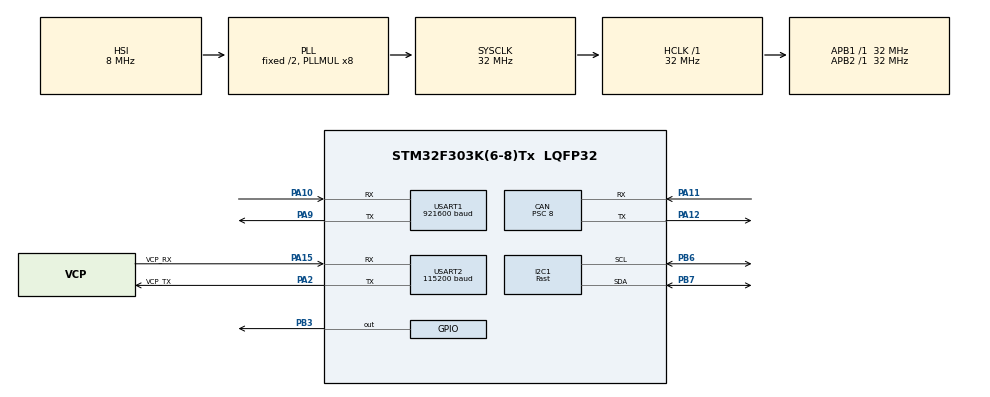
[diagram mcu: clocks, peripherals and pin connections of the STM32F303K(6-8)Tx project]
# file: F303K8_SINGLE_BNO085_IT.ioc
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CAN.BS1=CAN_BS1_2TQ
CAN.CalculateBaudRate=1000000
CAN.CalculateTimeBit=1000
CAN.CalculateTimeQuantum=250.0
CAN.Prescaler=8
CAN.SJW=CAN_SJW_2TQ
I2C1.I2C_Speed_Mode=I2C_Fast
I2C1.Timing=0x00300F38
Mcu.Family=STM32F3
Mcu.Name=STM32F303K(6-8)Tx
Mcu.Package=LQFP32
NVIC.PriorityGroup=NVIC_PRIORITYGROUP_4
NVIC.RCC_IRQn=true\:0\:0\:false\:false\:true\:true\:false\:true
NVIC.TIM6_DAC1_IRQn=true\:0\:0\:false\:false\:true\:true\:true\:true
PA10.Mode=Asynchronous
PA10.Signal=USART1_RX
PA11.Mode=CAN_Activate
PA11.Signal=CAN_RX
PA12.Mode=CAN_Activate
PA12.Signal=CAN_TX
PA13.GPIO_Label=SWDIO
PA13.Mode=Serial_Wire
PA13.Signal=SYS_JTMS-SWDIO
PA14.GPIO_Label=SWCLK
PA14.Mode=Serial_Wire
PA14.Signal=SYS_JTCK-SWCLK
PA15.GPIO_Label=VCP_RX
PA15.Mode=Asynchronous
PA15.Signal=USART2_RX
PA2.GPIO_Label=VCP_TX
PA2.Mode=Asynchronous
PA2.Signal=USART2_TX
PA9.Mode=Asynchronous
PA9.Signal=USART1_TX
PB3.Signal=GPIO_Output
PB6.Mode=I2C
PB6.Signal=I2C1_SCL
PB7.Mode=I2C
PB7.Signal=I2C1_SDA
PF0\ /\ OSC_IN.GPIO_Label=MCO
PF0\ /\ OSC_IN.Mode=HSE-External-Clock-Source
PF0\ /\ OSC_IN.Signal=RCC_OSC_IN
ProjectManager.HeapSize=0x200
ProjectManager.StackSize=0x400
ProjectManager.TargetToolchain=STM32CubeIDE
RCC.AHBFreq_Value=32000000
RCC.APB1Freq_Value=32000000
RCC.APB1TimFreq_Value=32000000
RCC.APB2Freq_Value=32000000
RCC.APB2TimFreq_Value=32000000
RCC.CortexFreq_Value=32000000
RCC.HCLKFreq_Value=32000000
RCC.HSE_VALUE=8000000
RCC.HSI_VALUE=8000000
RCC.I2c1ClockSelection=RCC_I2C1CLKSOURCE_SYSCLK
RCC.PLLMUL=RCC_PLL_MUL8
RCC.SYSCLKFreq_VALUE=32000000
RCC.SYSCLKSourceVirtual=RCC_SYSCLKSOURCE_PLLCLK
TIM6.Period=19000
TIM6.Prescaler=32
USART1.BaudRate=921600
USART1.VirtualMode-Asynchronous=VM_ASYNC
USART2.BaudRate=115200
USART2.VirtualMode-Asynchronous=VM_ASYNC
VP_TIM6_VS_ClockSourceINT.Mode=Enable_Timer
board=NUCLEO-F303K8

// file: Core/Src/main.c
/* USER CODE BEGIN Header */
/**
 ******************************************************************************
 * @file           : main.c
 * @brief          : Main program body
 ******************************************************************************
 * @attention
 *
 * Copyright (c) 2024 STMicroelectronics.
 * All rights reserved.
 *
 * This software is licensed under terms that can be found in the LICENSE file
 * in the root directory of this software component.
 * If no LICENSE file comes with this software, it is provided AS-IS.
 *
 ******************************************************************************
 */
/* USER CODE END Header */
#include "main.h"

/* USER CODE BEGIN PTD */
typedef struct Quaternion {
  float qi;
  float qj;
  float qk;
  float qr;
  float acc;
}
Quaternion_t;

typedef struct EulerAng {
  float roll;
  float pitch;
  float yaw;
  float acc;
}
EulerAng_t;

typedef struct ARVRStabRotVectReport {
  uint8_t reportID;
  uint8_t repSeqNum;
  uint8_t repStatus;
  uint8_t repDelay;
  int16_t quat_i;
  int16_t quat_j;
  int16_t quat_k;
  int16_t quat_r;
  int16_t accEstim;
}
ARVRStabRotVectReport_t;

typedef struct FlashConfigReg {
  uint8_t tlmOutputMode;
  uint8_t tlmOutputRate;
  uint8_t canConfig;
  uint8_t unused2;
}
FlashConfigReg_t;

/* USER CODE END PTD */

/* USER CODE BEGIN PD */

#define SCALE_Q(n) (1.0f / (1 << n))

#define IMU_OUT_EULER_ONLY   1
#define IMU_OUT_QUAT_ONLY    2
#define IMU_OUT_EULER_QUAT   3

#define IMU_OUT_RATE_100     1
#define IMU_OUT_RATE_50      2
#define IMU_OUT_RATE_25      3
#define IMU_OUT_RATE_12P5    4

#define IMU_CFG_AUTO_RETRANS_DIS      0
#define IMU_CFG_AUTO_RETRANS_ENA      1

#define FLASH_PAGE_30_START ((uint32_t)0x0800F000)
#define FLASH_PAGE_31_START ((uint32_t)0x0800F800)

#define CAN_RX_FIFO0 0

/*
IMU Cmd 1	Enable Euler angles TLM	0	0	1	0	0	0	0	0	0	1	0	0	0	0	0	0	0	0	0	0	0	0	1	0	0	0	0	0	0		00100	00001000	00000000	01000000	04	08	00	40
IMU Cmd 2	Disable Euler angles TLM	0	0	1	0	0	0	0	0	0	1	0	0	0	0	0	0	0	0	0	0	0	1	0	0	0	0	0	0	0		00100	00001000	00000000	10000000	04	08	00	80
IMU Cmd 3	Enable Quaternion TLM	0	0	1	0	0	0	0	0	0	1	0	0	0	0	0	0	0	0	0	0	1	0	1	0	0	0	0	0	0		00100	00001000	00000001	01000000	04	08	01	40
IMU Cmd 4	Disable Quaternion TLM	0	0	1	0	0	0	0	0	0	1	0	0	0	0	0	0	0	0	0	0	1	1	0	0	0	0	0	0	0		00100	00001000	00000001	10000000	04	08	01	80
*/
#define IMU_CMD_EULER_ENA   0x04080040
#define IMU_CMD_EULER_DIS   0x04080080
#define IMU_CMD_QUAT_ENA    0x040800C0
#define IMU_CMD_QUAT_DIS    0x04080100
#define IMU_CMD_RATE_100    0x04080140
#define IMU_CMD_RATE_50     0x04080180
#define IMU_CMD_RATE_25     0x040801C0
#define IMU_CMD_RATE_12P5   0x04080200

/* USER CODE END PD */

CAN_HandleTypeDef hcan;

I2C_HandleTypeDef hi2c1;

TIM_HandleTypeDef htim6;

UART_HandleTypeDef huart1;
UART_HandleTypeDef huart2;

/* USER CODE BEGIN PV */
char outputString[500];
HAL_StatusTypeDef transmissionStatus;

uint8_t txDataI2C[500];
uint8_t rxDataI2C[500];
uint8_t txProdIDReqI2C[6] = {
  0x06,
  0x00,
  0x02,
  0x00,
  0xF9,
  0x00
};
uint8_t txMisteryReqI2C[5] = {
  0x05,
  0x00,
  0x01,
  0x00,
  0x01
};
uint8_t txSetFeatureI2C[21] = {
  0x15,
  0x00,
  0x02,
  0x01,
  0xFD,
  0x28,
  0x00,
  0x00,
  0x00,
  0x88,
  0x13,
  0x00,
  0x00,
  0x00,
  0x00,
  0x00,
  0x00,
  0x00,
  0x00,
  0x00,
  0x00
};

uint8_t tgtAddr;
uint8_t bytes2Read;

GPIO_PinState button_state;
uint8_t execute_btn_actions;

Quaternion_t myQuat, myQuatScaled;
EulerAng_t myRollPitchYaw, myRPY, myRPYScaled;
ARVRStabRotVectReport_t myARVRReport;

float norm;

float sqi;
float sqj;
float sqk;
float sqr;

float sinr_cosp;
float cosr_cosp;
float sinp;
float cosp;
float siny_cosp;
float cosy_cosp;

// Flash configuration storage variable
FlashConfigReg_t myFlashCfg;
uint32_t myReadData;
uint32_t myData;
FLASH_EraseInitTypeDef myEraseInit;
uint32_t myPageError;
HAL_StatusTypeDef myStatus;

// Private variables for CAN
CAN_FilterTypeDef canFltrCfg;
CAN_TxHeaderTypeDef canTxHeader;
CAN_RxHeaderTypeDef canRxHeader;
uint32_t canMailbox;
uint8_t canTxMsg[8];
uint8_t canRxMsg[8];

uint16_t tmp_uint16;

uint32_t tickStartCycle, tickEndCycle, tickLastStartCycle;

uint8_t changeFlag;

/* USER CODE END PV */

void SystemClock_Config(void);
static void MX_GPIO_Init(void);
static void MX_USART2_UART_Init(void);
static void MX_CAN_Init(void);
static void MX_I2C1_Init(void);
static void MX_USART1_UART_Init(void);
static void MX_TIM6_Init(void);

/* USER CODE BEGIN PFP */
void HAL_TIM_PeriodElapsedCallback(TIM_HandleTypeDef * htim);
uint8_t getARVRQuat(const ARVRStabRotVectReport_t * inputRep, Quaternion_t * quatStruct);
void checkCANReceive(void);
void writeConfigToFlash(void);
void canConfig(void);
void ClearCANPendingMessage(CAN_HandleTypeDef * pCANHandle, CAN_TxHeaderTypeDef * pHeader, uint8_t * pTxData, uint32_t * pTxMailbox);
void TransmitCANMessage(CAN_HandleTypeDef * pCANHandle, CAN_TxHeaderTypeDef * pHeader, uint8_t * pTxData, uint32_t * pTxMailbox);

/* USER CODE END PFP */

int main(void)
{

  /* MCU Configuration--------------------------------------------------------*/

  /* Reset of all peripherals, Initializes the Flash interface and the Systick. */
  HAL_Init();

  /* Configure the system clock */
  SystemClock_Config();

  /* Initialize all configured peripherals */
  MX_GPIO_Init();
  MX_USART2_UART_Init();
  MX_CAN_Init();
  MX_I2C1_Init();
  MX_USART1_UART_Init();
  MX_TIM6_Init();
  /* USER CODE BEGIN 2 */

  sprintf(outputString, "Application is starting...\r\n");
  transmissionStatus = HAL_UART_Transmit( & huart2, (uint8_t * ) outputString, strlen(outputString), HAL_MAX_DELAY);

  // print SYSCLK Speed
  sprintf(outputString, "SYSCLK Speed: %ld\r\n", HAL_RCC_GetSysClockFreq());
  transmissionStatus = HAL_UART_Transmit( & huart2, (uint8_t * ) outputString, strlen(outputString), HAL_MAX_DELAY);
  // print HCLK Speed
  sprintf(outputString, "HCLK Speed: %ld\r\n", HAL_RCC_GetHCLKFreq());
  transmissionStatus = HAL_UART_Transmit( & huart2, (uint8_t * ) outputString, strlen(outputString), HAL_MAX_DELAY);
  // print PCLK1 Speed
  sprintf(outputString, "PCLK1 Speed: %ld\r\n", HAL_RCC_GetPCLK1Freq());
  transmissionStatus = HAL_UART_Transmit( & huart2, (uint8_t * ) outputString, strlen(outputString), HAL_MAX_DELAY);
  // print PCLK2 Speed
  sprintf(outputString, "PCLK2 Speed: %ld\r\n", HAL_RCC_GetPCLK2Freq());
  transmissionStatus = HAL_UART_Transmit( & huart2, (uint8_t * ) outputString, strlen(outputString), HAL_MAX_DELAY);

  // Read configuration from flash
  //myReadData = *(volatile uint32_t *)FLASH_PAGE_31_START;
  myFlashCfg = *(volatile FlashConfigReg_t *)FLASH_PAGE_31_START;
  if (myFlashCfg.tlmOutputMode == 255){
	  myFlashCfg.tlmOutputMode == IMU_OUT_EULER_ONLY;
  }
  if (myFlashCfg.tlmOutputRate == 255){
	  myFlashCfg.tlmOutputRate == IMU_OUT_RATE_50;
	  if (myFlashCfg.tlmOutputRate != IMU_OUT_RATE_50) {
		  myFlashCfg.tlmOutputRate = IMU_OUT_RATE_50;
		  HAL_TIM_Base_Stop_IT(&htim6);
		  htim6.Init.Period = 19000;
		  if (HAL_TIM_Base_Init(&htim6) != HAL_OK)
		  {
		    Error_Handler();
		  }
		  HAL_TIM_Base_Start_IT(&htim6);
	  }
  }
  if (myFlashCfg.canConfig == 255){
	  myFlashCfg.canConfig == IMU_CFG_AUTO_RETRANS_DIS;
  }
  //&myFlashCfg = &myReadData;

  // Configure CAN structures and state machine
  canConfig();

  // I2C configuration
  //Default address
  tgtAddr = 0x4A << 1;
  bytes2Read = 100;

  // first I2C transaction
  HAL_I2C_Master_Transmit( & hi2c1, tgtAddr, txMisteryReqI2C, 5, HAL_MAX_DELAY);
  sprintf(outputString, "BNO085 write: %x\r\n", txMisteryReqI2C);
  transmissionStatus = HAL_UART_Transmit( & huart2, (uint8_t * ) outputString, strlen(outputString), HAL_MAX_DELAY);

  HAL_Delay(2);

  HAL_I2C_Master_Receive( & hi2c1, tgtAddr, rxDataI2C, bytes2Read, HAL_MAX_DELAY);
  sprintf(outputString, "BNO085 read: ");
  for (int i = 0; i < bytes2Read; i++) {
    sprintf(outputString + strlen(outputString), "%02x ", rxDataI2C[i]);
  }
  sprintf(outputString + strlen(outputString), "\r\n");
  transmissionStatus = HAL_UART_Transmit( & huart2, (uint8_t * ) outputString, strlen(outputString), HAL_MAX_DELAY);

  HAL_Delay(10);

  // second I2C transaction
  HAL_I2C_Master_Transmit( & hi2c1, tgtAddr, txProdIDReqI2C, 6, HAL_MAX_DELAY);
  sprintf(outputString, "BNO085 write: %x\r\n", txProdIDReqI2C);
  transmissionStatus = HAL_UART_Transmit( & huart2, (uint8_t * ) outputString, strlen(outputString), HAL_MAX_DELAY);

  HAL_Delay(2);

  HAL_I2C_Master_Receive( & hi2c1, tgtAddr, rxDataI2C, bytes2Read, HAL_MAX_DELAY);
  sprintf(outputString, "BNO085 read: ");
  for (int i = 0; i < bytes2Read; i++) {
    sprintf(outputString + strlen(outputString), "%02x ", rxDataI2C[i]);
  }
  sprintf(outputString + strlen(outputString), "\r\n");
  transmissionStatus = HAL_UART_Transmit( & huart2, (uint8_t * ) outputString, strlen(outputString), HAL_MAX_DELAY);

  HAL_Delay(10);

  // third I2C transaction
  HAL_I2C_Master_Transmit( & hi2c1, tgtAddr, txSetFeatureI2C, 21, HAL_MAX_DELAY);
  sprintf(outputString, "BNO085 write: %x\r\n", txSetFeatureI2C);
  transmissionStatus = HAL_UART_Transmit( & huart2, (uint8_t * ) outputString, strlen(outputString), HAL_MAX_DELAY);

  HAL_Delay(2);

  HAL_I2C_Master_Receive( & hi2c1, tgtAddr, rxDataI2C, bytes2Read, HAL_MAX_DELAY);
  sprintf(outputString, "BNO085 read: ");
  for (int i = 0; i < bytes2Read; i++) {
    sprintf(outputString + strlen(outputString), "%02x ", rxDataI2C[i]);
  }
  sprintf(outputString + strlen(outputString), "\r\n");
  transmissionStatus = HAL_UART_Transmit( & huart2, (uint8_t * ) outputString, strlen(outputString), HAL_MAX_DELAY);

  HAL_Delay(10);

  bytes2Read = 80;

  // start timer
  HAL_TIM_Base_Start_IT( & htim6);
  tickStartCycle = HAL_GetTick();
  tickLastStartCycle = tickStartCycle;

  /* USER CODE END 2 */

  /* Infinite loop */
  while (1) {

  }
}

void SystemClock_Config(void)
{
  RCC_OscInitTypeDef RCC_OscInitStruct = {0};
  RCC_ClkInitTypeDef RCC_ClkInitStruct = {0};
  RCC_PeriphCLKInitTypeDef PeriphClkInit = {0};

  /** Initializes the RCC Oscillators according to the specified parameters
  * in the RCC_OscInitTypeDef structure.
  */
  RCC_OscInitStruct.OscillatorType = RCC_OSCILLATORTYPE_HSI;
  RCC_OscInitStruct.HSIState = RCC_HSI_ON;
  RCC_OscInitStruct.HSICalibrationValue = RCC_HSICALIBRATION_DEFAULT;
  RCC_OscInitStruct.PLL.PLLState = RCC_PLL_ON;
  RCC_OscInitStruct.PLL.PLLSource = RCC_PLLSOURCE_HSI;
  RCC_OscInitStruct.PLL.PLLMUL = RCC_PLL_MUL8;
  if (HAL_RCC_OscConfig(&RCC_OscInitStruct) != HAL_OK)
  {
    Error_Handler();
  }

  /** Initializes the CPU, AHB and APB buses clocks
  */
  RCC_ClkInitStruct.ClockType = RCC_CLOCKTYPE_HCLK|RCC_CLOCKTYPE_SYSCLK
                              |RCC_CLOCKTYPE_PCLK1|RCC_CLOCKTYPE_PCLK2;
  RCC_ClkInitStruct.SYSCLKSource = RCC_SYSCLKSOURCE_PLLCLK;
  RCC_ClkInitStruct.AHBCLKDivider = RCC_SYSCLK_DIV1;
  RCC_ClkInitStruct.APB1CLKDivider = RCC_HCLK_DIV1;
  RCC_ClkInitStruct.APB2CLKDivider = RCC_HCLK_DIV1;

  if (HAL_RCC_ClockConfig(&RCC_ClkInitStruct, FLASH_LATENCY_1) != HAL_OK)
  {
    Error_Handler();
  }
  PeriphClkInit.PeriphClockSelection = RCC_PERIPHCLK_USART1|RCC_PERIPHCLK_I2C1;
  PeriphClkInit.Usart1ClockSelection = RCC_USART1CLKSOURCE_PCLK1;
  PeriphClkInit.I2c1ClockSelection = RCC_I2C1CLKSOURCE_SYSCLK;
  if (HAL_RCCEx_PeriphCLKConfig(&PeriphClkInit) != HAL_OK)
  {
    Error_Handler();
  }
}

static void MX_CAN_Init(void)
{

  hcan.Instance = CAN;
  hcan.Init.Prescaler = 8;
  hcan.Init.Mode = CAN_MODE_NORMAL;
  hcan.Init.SyncJumpWidth = CAN_SJW_2TQ;
  hcan.Init.TimeSeg1 = CAN_BS1_2TQ;
  hcan.Init.TimeSeg2 = CAN_BS2_1TQ;
  hcan.Init.TimeTriggeredMode = DISABLE;
  hcan.Init.AutoBusOff = DISABLE;
  hcan.Init.AutoWakeUp = DISABLE;
  hcan.Init.AutoRetransmission = DISABLE;
  hcan.Init.ReceiveFifoLocked = DISABLE;
  hcan.Init.TransmitFifoPriority = DISABLE;
  if (HAL_CAN_Init(&hcan) != HAL_OK)
  {
    Error_Handler();
  }
  /* USER CODE BEGIN CAN_Init 2 */

  SET_BIT(hcan.Instance -> MCR, CAN_MCR_NART);

  /* USER CODE END CAN_Init 2 */

}

static void MX_I2C1_Init(void)
{

  hi2c1.Instance = I2C1;
  hi2c1.Init.Timing = 0x00300F38;
  hi2c1.Init.OwnAddress1 = 0;
  hi2c1.Init.AddressingMode = I2C_ADDRESSINGMODE_7BIT;
  hi2c1.Init.DualAddressMode = I2C_DUALADDRESS_DISABLE;
  hi2c1.Init.OwnAddress2 = 0;
  hi2c1.Init.OwnAddress2Masks = I2C_OA2_NOMASK;
  hi2c1.Init.GeneralCallMode = I2C_GENERALCALL_DISABLE;
  hi2c1.Init.NoStretchMode = I2C_NOSTRETCH_DISABLE;
  if (HAL_I2C_Init(&hi2c1) != HAL_OK)
  {
    Error_Handler();
  }

  /** Configure Analogue filter
  */
  if (HAL_I2CEx_ConfigAnalogFilter(&hi2c1, I2C_ANALOGFILTER_ENABLE) != HAL_OK)
  {
    Error_Handler();
  }

  /** Configure Digital filter
  */
  if (HAL_I2CEx_ConfigDigitalFilter(&hi2c1, 0) != HAL_OK)
  {
    Error_Handler();
  }

}

static void MX_TIM6_Init(void)
{

  TIM_MasterConfigTypeDef sMasterConfig = {0};

  htim6.Instance = TIM6;
  htim6.Init.Prescaler = 32;
  htim6.Init.CounterMode = TIM_COUNTERMODE_UP;
  htim6.Init.Period = 19000;
  htim6.Init.AutoReloadPreload = TIM_AUTORELOAD_PRELOAD_DISABLE;
  if (HAL_TIM_Base_Init(&htim6) != HAL_OK)
  {
    Error_Handler();
  }
  sMasterConfig.MasterOutputTrigger = TIM_TRGO_RESET;
  sMasterConfig.MasterSlaveMode = TIM_MASTERSLAVEMODE_DISABLE;
  if (HAL_TIMEx_MasterConfigSynchronization(&htim6, &sMasterConfig) != HAL_OK)
  {
    Error_Handler();
  }

}

static void MX_USART1_UART_Init(void)
{

  huart1.Instance = USART1;
  huart1.Init.BaudRate = 921600;
  huart1.Init.WordLength = UART_WORDLENGTH_8B;
  huart1.Init.StopBits = UART_STOPBITS_1;
  huart1.Init.Parity = UART_PARITY_NONE;
  huart1.Init.Mode = UART_MODE_TX_RX;
  huart1.Init.HwFlowCtl = UART_HWCONTROL_NONE;
  huart1.Init.OverSampling = UART_OVERSAMPLING_16;
  huart1.Init.OneBitSampling = UART_ONE_BIT_SAMPLE_DISABLE;
  huart1.AdvancedInit.AdvFeatureInit = UART_ADVFEATURE_NO_INIT;
  if (HAL_UART_Init(&huart1) != HAL_OK)
  {
    Error_Handler();
  }

}

static void MX_USART2_UART_Init(void)
{

  huart2.Instance = USART2;
  huart2.Init.BaudRate = 115200;
  huart2.Init.WordLength = UART_WORDLENGTH_8B;
  huart2.Init.StopBits = UART_STOPBITS_1;
  huart2.Init.Parity = UART_PARITY_NONE;
  huart2.Init.Mode = UART_MODE_TX_RX;
  huart2.Init.HwFlowCtl = UART_HWCONTROL_NONE;
  huart2.Init.OverSampling = UART_OVERSAMPLING_16;
  huart2.Init.OneBitSampling = UART_ONE_BIT_SAMPLE_DISABLE;
  huart2.AdvancedInit.AdvFeatureInit = UART_ADVFEATURE_NO_INIT;
  if (HAL_UART_Init(&huart2) != HAL_OK)
  {
    Error_Handler();
  }

}

static void MX_GPIO_Init(void)
{
  GPIO_InitTypeDef GPIO_InitStruct = {0};

  /* GPIO Ports Clock Enable */
  __HAL_RCC_GPIOF_CLK_ENABLE();
  __HAL_RCC_GPIOA_CLK_ENABLE();
  __HAL_RCC_GPIOB_CLK_ENABLE();

  /*Configure GPIO pin Output Level */
  HAL_GPIO_WritePin(GPIOB, GPIO_PIN_3, GPIO_PIN_RESET);

  /*Configure GPIO pin : PB3 */
  GPIO_InitStruct.Pin = GPIO_PIN_3;
  GPIO_InitStruct.Mode = GPIO_MODE_OUTPUT_PP;
  GPIO_InitStruct.Pull = GPIO_NOPULL;
  GPIO_InitStruct.Speed = GPIO_SPEED_FREQ_LOW;
  HAL_GPIO_Init(GPIOB, &GPIO_InitStruct);

}

/* USER CODE BEGIN 4 */
uint8_t getARVRQuat(const ARVRStabRotVectReport_t * inputRep, Quaternion_t * quatStruct)
//uint8_t getARVRQuat(uint8_t *inputRep, Quaternion_t *quatStruct)
{

  if (inputRep -> reportID != 0x28) {
    return 0;
  }
  quatStruct -> qi = inputRep -> quat_i * SCALE_Q(14);
  quatStruct -> qj = inputRep -> quat_j * SCALE_Q(14);
  quatStruct -> qk = inputRep -> quat_k * SCALE_Q(14);
  quatStruct -> qr = inputRep -> quat_r * SCALE_Q(14);
  quatStruct -> acc = inputRep -> accEstim * SCALE_Q(12);

  return 1;

}

void HAL_TIM_PeriodElapsedCallback(TIM_HandleTypeDef * htim) {
  // Set timing stuff
  tickLastStartCycle = tickStartCycle;
  tickStartCycle = HAL_GetTick();

  // Toggle LED
  HAL_GPIO_TogglePin(GPIOB, GPIO_PIN_3);

  // Primary sensor readout
  rxDataI2C[0] = 0;
  HAL_I2C_Master_Receive( & hi2c1, tgtAddr, rxDataI2C, bytes2Read, HAL_MAX_DELAY);

  // Confirm there is a response (if not, reconfigure BNO085)
  if (rxDataI2C[9] != 0x28) {
    // Reset the feature request
    HAL_I2C_Master_Transmit( & hi2c1, tgtAddr, txSetFeatureI2C, 21, HAL_MAX_DELAY);
    /*
    sprintf(outputString, "Primary   BNO085 write: %x\r\n", txSetFeatureI2C);
    transmissionStatus = HAL_UART_Transmit(&huart2, (uint8_t*)outputString, strlen(outputString), HAL_MAX_DELAY);
    */

    //HAL_Delay(1);
  } else {
    // Extract quaternion from ARVR stabilized rotation vector report
    getARVRQuat( & rxDataI2C[9], & myQuat);

    // Compute quaternion norm (to verify quaternion unity)
    norm = myQuat.qi * myQuat.qi + myQuat.qj * myQuat.qj + myQuat.qk * myQuat.qk + myQuat.qr * myQuat.qr;

    // convert quaternion to Euler angles
    sqi = (myQuat.qi * myQuat.qi);
    sqj = (myQuat.qj * myQuat.qj);
    sqk = (myQuat.qk * myQuat.qk);
    sqr = (myQuat.qr * myQuat.qr);

    myRollPitchYaw.roll = atan2(2.0 * (myQuat.qj * myQuat.qk + myQuat.qi * myQuat.qr), (-sqi - sqj + sqk + sqr));
    myRollPitchYaw.pitch = asin(-2.0 * (myQuat.qi * myQuat.qk - myQuat.qj * myQuat.qr) / (sqi + sqj + sqk + sqr));
    myRollPitchYaw.yaw = atan2(2.0 * (myQuat.qi * myQuat.qj + myQuat.qk * myQuat.qr), (sqi - sqj - sqk + sqr));

    // scale to degrees
    myRollPitchYaw.roll *= 180.0 / 3.14159265;
    myRollPitchYaw.pitch *= 180.0 / 3.14159265;
    myRollPitchYaw.yaw *= 180.0 / 3.14159265;

    myRPY.roll = myRollPitchYaw.roll;
    myRPY.pitch = myRollPitchYaw.pitch;
    myRPY.yaw = myRollPitchYaw.yaw;

    // copy over accuracy estimate
    myRPY.acc = myQuat.acc;

    // Output to CAN bus
    // First clear any pending messages
    if (myFlashCfg.tlmOutputMode & 0b00000001) {
        // convert to 16-bit values for transmission on CAN bus
        // CAN scale factor -> 400deg maps to 65536 count
        // need to offset by 200 deg as data is +/-180 degs
        myRPYScaled.roll = myRPY.roll + 200;
        myRPYScaled.pitch = myRPY.pitch + 200;
        myRPYScaled.yaw = myRPY.yaw + 200;
        myRPYScaled.roll *= 163.84;
        myRPYScaled.pitch *= 163.84;
        myRPYScaled.yaw *= 163.84;
        myRPYScaled.acc = myRPY.acc * 655.36;

        // reformat Roll Pitch Yaw from floats to 16 bit scaled values
        tmp_uint16 = (uint16_t) myRPYScaled.roll;
        canTxMsg[0] = (uint8_t)(tmp_uint16 >> 8);
        canTxMsg[1] = (uint8_t)(tmp_uint16 & 0xff);
        tmp_uint16 = (uint16_t) myRPYScaled.pitch;
        canTxMsg[2] = (uint8_t)(tmp_uint16 >> 8);
        canTxMsg[3] = (uint8_t)(tmp_uint16 & 0xff);
        tmp_uint16 = (uint16_t) myRPYScaled.yaw;
        canTxMsg[4] = (uint8_t)(tmp_uint16 >> 8);
        canTxMsg[5] = (uint8_t)(tmp_uint16 & 0xff);
        tmp_uint16 = (uint16_t) myRPYScaled.acc;
        canTxMsg[6] = (uint8_t)(tmp_uint16 >> 8);
        canTxMsg[7] = (uint8_t)(tmp_uint16 & 0xff);
        canTxHeader.ExtId = 0x4080440;

        ClearCANPendingMessage( & hcan, & canTxHeader, canTxMsg, & canMailbox);
        TransmitCANMessage( &hcan, &canTxHeader, canTxMsg, &canMailbox);
    }

    if (myFlashCfg.tlmOutputMode & 0b00000010) {
        // scaling quaternion to transmit as 16-bit value (add 1, then multiply by 32768)
        myQuatScaled.qi = myQuat.qi + 1;
    	myQuatScaled.qj = myQuat.qj + 1;
    	myQuatScaled.qk = myQuat.qk + 1;
    	myQuatScaled.qr = myQuat.qr + 1;
    	myQuatScaled.qi *= 32768;
    	myQuatScaled.qj *= 32768;
    	myQuatScaled.qk *= 32768;
    	myQuatScaled.qr *= 32768;

        // reformat Quaternion from floats to 16 bit scaled values
        tmp_uint16 = (uint16_t) myQuatScaled.qi;
        canTxMsg[0] = (uint8_t)(tmp_uint16 >> 8);
        canTxMsg[1] = (uint8_t)(tmp_uint16 & 0xff);
        tmp_uint16 = (uint16_t) myQuatScaled.qj;
        canTxMsg[2] = (uint8_t)(tmp_uint16 >> 8);
        canTxMsg[3] = (uint8_t)(tmp_uint16 & 0xff);
        tmp_uint16 = (uint16_t) myQuatScaled.qk;
        canTxMsg[4] = (uint8_t)(tmp_uint16 >> 8);
        canTxMsg[5] = (uint8_t)(tmp_uint16 & 0xff);
        tmp_uint16 = (uint16_t) myQuatScaled.qr;
        canTxMsg[6] = (uint8_t)(tmp_uint16 >> 8);
        canTxMsg[7] = (uint8_t)(tmp_uint16 & 0xff);
        canTxHeader.ExtId = 0x4080480;

        ClearCANPendingMessage( & hcan, & canTxHeader, canTxMsg, & canMailbox);
        TransmitCANMessage( &hcan, &canTxHeader, canTxMsg, &canMailbox);
    }

  }

  /*
	// Verbose output
	sprintf(outputString, "Pri BNO085 Euler angles: %f, %f, %f; Red BNO085 Euler angles: %f, %f, %f\r\n",
			myRPY.roll, myRPY.pitch, myRPY.yaw, myRPYRed.roll, myRPYRed.pitch, myRPYRed.yaw);
	transmissionStatus = HAL_UART_Transmit(&huart2, (uint8_t*)outputString, strlen(outputString), HAL_MAX_DELAY);
	*/
  tickEndCycle = HAL_GetTick();

  // Numbers only output
  sprintf(outputString, "%f, %f, %f, %f, %f, %f, %f, %f, %i, %i\r\n", myQuat.qi, myQuat.qj, myQuat.qk, myQuat.qr,
    myRPY.roll, myRPY.pitch, myRPY.yaw, myRPY.acc, (tickEndCycle - tickStartCycle), (tickStartCycle - tickLastStartCycle));
  transmissionStatus = HAL_UART_Transmit( & huart2, (uint8_t * ) outputString, strlen(outputString), HAL_MAX_DELAY);

  // Turn LED off
  //HAL_GPIO_WritePin(GPIOB, GPIO_PIN_3, GPIO_PIN_RESET);

  checkCANReceive();

}

void checkCANReceive(void) {
	  changeFlag = 0;
	  // process any CAN responses available in FIFO
	  while (HAL_CAN_GetRxFifoFillLevel(&hcan, CAN_RX_FIFO0) != 0) {
		  // Get next message from FIFO
		  if (HAL_CAN_GetRxMessage(&hcan, CAN_RX_FIFO0, &canRxHeader, canRxMsg) != HAL_OK) {
			  Error_Handler();
		  }
		  // check different header values to execute commands
		  if (canRxHeader.ExtId == IMU_CMD_EULER_ENA) {
			  if ((myFlashCfg.tlmOutputMode & 0x1) != 1) {
				  myFlashCfg.tlmOutputMode |= 0b00000001;
				  changeFlag = 1;
			  }
		  }
		  if (canRxHeader.ExtId == IMU_CMD_EULER_DIS) {
			  if ((myFlashCfg.tlmOutputMode & 0x1) != 0) {
				  myFlashCfg.tlmOutputMode &= 0b11111110;
				  changeFlag = 1;
			  }
		  }
		  if (canRxHeader.ExtId == IMU_CMD_QUAT_ENA) {
			  if ((myFlashCfg.tlmOutputMode & 0x2) != 2) {
				  myFlashCfg.tlmOutputMode |= 0b00000010;
				  changeFlag = 1;
			  }
		  }
		  if (canRxHeader.ExtId == IMU_CMD_QUAT_DIS) {
			  if ((myFlashCfg.tlmOutputMode & 0x2) != 0) {
				  myFlashCfg.tlmOutputMode &= 0b11111101;
				  changeFlag = 1;
			  }
		  }
		  if (canRxHeader.ExtId == IMU_CMD_RATE_100) {
			  if (myFlashCfg.tlmOutputRate != IMU_CMD_RATE_100) {
				  myFlashCfg.tlmOutputRate = IMU_CMD_RATE_100;
				  HAL_TIM_Base_Stop_IT(&htim6);
				  htim6.Init.Period = 9000;
				  if (HAL_TIM_Base_Init(&htim6) != HAL_OK)
				  {
				    Error_Handler();
				  }
				  HAL_TIM_Base_Start_IT(&htim6);
				  changeFlag = 1;
			  }
		  }
		  if (canRxHeader.ExtId == IMU_CMD_RATE_50) {
			  if (myFlashCfg.tlmOutputRate != IMU_CMD_RATE_50) {
				  myFlashCfg.tlmOutputRate = IMU_CMD_RATE_50;
				  HAL_TIM_Base_Stop_IT(&htim6);
				  htim6.Init.Period = 19000;
				  if (HAL_TIM_Base_Init(&htim6) != HAL_OK)
				  {
				    Error_Handler();
				  }
				  HAL_TIM_Base_Start_IT(&htim6);
				  changeFlag = 1;
			  }
		  }
		  if (canRxHeader.ExtId == IMU_CMD_RATE_25) {
			  if (myFlashCfg.tlmOutputRate != IMU_CMD_RATE_25) {
				  myFlashCfg.tlmOutputRate = IMU_CMD_RATE_25;
				  HAL_TIM_Base_Stop_IT(&htim6);
				  htim6.Init.Period = 49000;
				  if (HAL_TIM_Base_Init(&htim6) != HAL_OK)
				  {
				    Error_Handler();
				  }
				  HAL_TIM_Base_Start_IT(&htim6);
				  changeFlag = 1;
			  }
		  }
		  if (canRxHeader.ExtId == IMU_CMD_RATE_12P5) {
			  if (myFlashCfg.tlmOutputRate != IMU_CMD_RATE_12P5) {
				  myFlashCfg.tlmOutputRate = IMU_CMD_RATE_12P5;
				  HAL_TIM_Base_Stop_IT(&htim6);
				  htim6.Init.Period = 99000;
				  if (HAL_TIM_Base_Init(&htim6) != HAL_OK)
				  {
				    Error_Handler();
				  }
				  HAL_TIM_Base_Start_IT(&htim6);
				  changeFlag = 1;
			  }
		  }
	  }
	  if (changeFlag) {
		  // save settings to flash
	  }
}

void writeConfigToFlash(void) {
	HAL_FLASH_Unlock();
	__HAL_FLASH_CLEAR_FLAG(FLASH_FLAG_EOP | FLASH_FLAG_WRPERR | FLASH_FLAG_PGERR);
	myData = 1234567890;
	myEraseInit.TypeErase = FLASH_TYPEERASE_PAGES;
	myEraseInit.NbPages = 1;
	myEraseInit.PageAddress = FLASH_PAGE_31_START;
	HAL_FLASHEx_Erase(&myEraseInit, &myPageError);
	myStatus = HAL_FLASH_Program(FLASH_TYPEPROGRAM_WORD, FLASH_PAGE_31_START, myData);
	HAL_FLASH_Lock();
}

void canConfig(void) {
  // Configure CAN filter
  // Command ID starts with 0x2040
  canFltrCfg.FilterIdHigh = 0x2040;
  canFltrCfg.FilterIdLow = 0x0000;
  // Mask needs to be applied to first 19 bits
  canFltrCfg.FilterMaskIdHigh = 0xFFFF;
  canFltrCfg.FilterMaskIdLow = 0xE000;
  //canFltrCfg.FilterMaskIdHigh = 0x0000;
  //canFltrCfg.FilterMaskIdLow = 0x0000;
  canFltrCfg.FilterFIFOAssignment = CAN_FILTER_FIFO0;
  canFltrCfg.FilterBank = 0;
  canFltrCfg.FilterMode = CAN_FILTERMODE_IDMASK;
  canFltrCfg.FilterScale = CAN_FILTERSCALE_32BIT;
  canFltrCfg.FilterActivation = CAN_FILTER_ENABLE;

  // Push filter configuration to CAN state machine
  if (HAL_CAN_ConfigFilter( & hcan, & canFltrCfg) != HAL_OK) {
    Error_Handler();
  }

  // Configure message to be sent
  canTxHeader.DLC = 8;
  //canTxHeader.ExtId = 0x4040440;
  //canTxHeader.StdId = 0x1;
  canTxHeader.IDE = CAN_ID_EXT;
  //canTxHeader.IDE = CAN_ID_STD;
  canTxHeader.RTR = CAN_RTR_DATA;

  // Put CAN state machine in ready mode (out of sleep and out of init)
  if (HAL_CAN_Start( & hcan) != HAL_OK) {
    Error_Handler();
  }

  // if both MSR bit 0 (INAK) and MSR bit 1 (SLAK) are at zero, then CAN state machine is in ready mode
  while (((hcan.Instance -> MSR & (SET << 0)) == (SET << 0)) || ((hcan.Instance -> MSR & (SET << 1)) == (SET << 1)));

}

void ClearCANPendingMessage(CAN_HandleTypeDef * pCANHandle, CAN_TxHeaderTypeDef * pHeader, uint8_t * pTxData, uint32_t * pTxMailbox) {
  // Before sending new message, verify status of CAN engine
  // If there is a transmit error CAN->TSR->TERR0 == 1
  // Abort previous request by setting CAN->TSR->ABRQ0
  if ((pCANHandle -> Instance -> TSR & CAN_TSR_TERR0) == CAN_TSR_TERR0) {
    // request to abort previous tx
    SET_BIT(pCANHandle -> Instance -> TSR, CAN_TSR_ABRQ0);
    // set CAN master reset
    SET_BIT(pCANHandle -> Instance -> MCR, CAN_MCR_RESET);
    // force clear TERR0
    CLEAR_BIT(pCANHandle -> Instance -> TSR, CAN_TSR_TERR0);
    // reset can error status register?
    //pCANHandle->Instance->TSR = 0;
    // go to initialization mode
    //SET_BIT(pCANHandle->Instance->MCR, CAN_MCR_INRQ);
    // go to normal mode (by clearing init flag
    //CLEAR_BIT(pCANHandle->Instance->MCR, CAN_MCR_INRQ);
    // go to normal mode (by clearing sleep flag
    CLEAR_BIT(pCANHandle -> Instance -> MCR, CAN_MCR_SLEEP);

  }
}

void TransmitCANMessage(CAN_HandleTypeDef * pCANHandle, CAN_TxHeaderTypeDef * pHeader, uint8_t * pTxData, uint32_t * pTxMailbox) {

  // enable no automatic retransmission bit (CAN message will only be sent once regardless of result)
  SET_BIT(pCANHandle -> Instance -> MCR, CAN_MCR_NART);
  // Queue next CAN message for car OBD PID readout
  if (HAL_CAN_AddTxMessage(pCANHandle, pHeader, pTxData, pTxMailbox) != HAL_OK) {
    Error_Handler();
  }

  // Wait for message to make it out on the CAN bus
  //while (HAL_CAN_IsTxMessagePending(pCANHandle, *pTxMailbox) == 1);
}

/* USER CODE END 4 */

void Error_Handler(void)
{
  __disable_irq();
  while (1) {}
}
